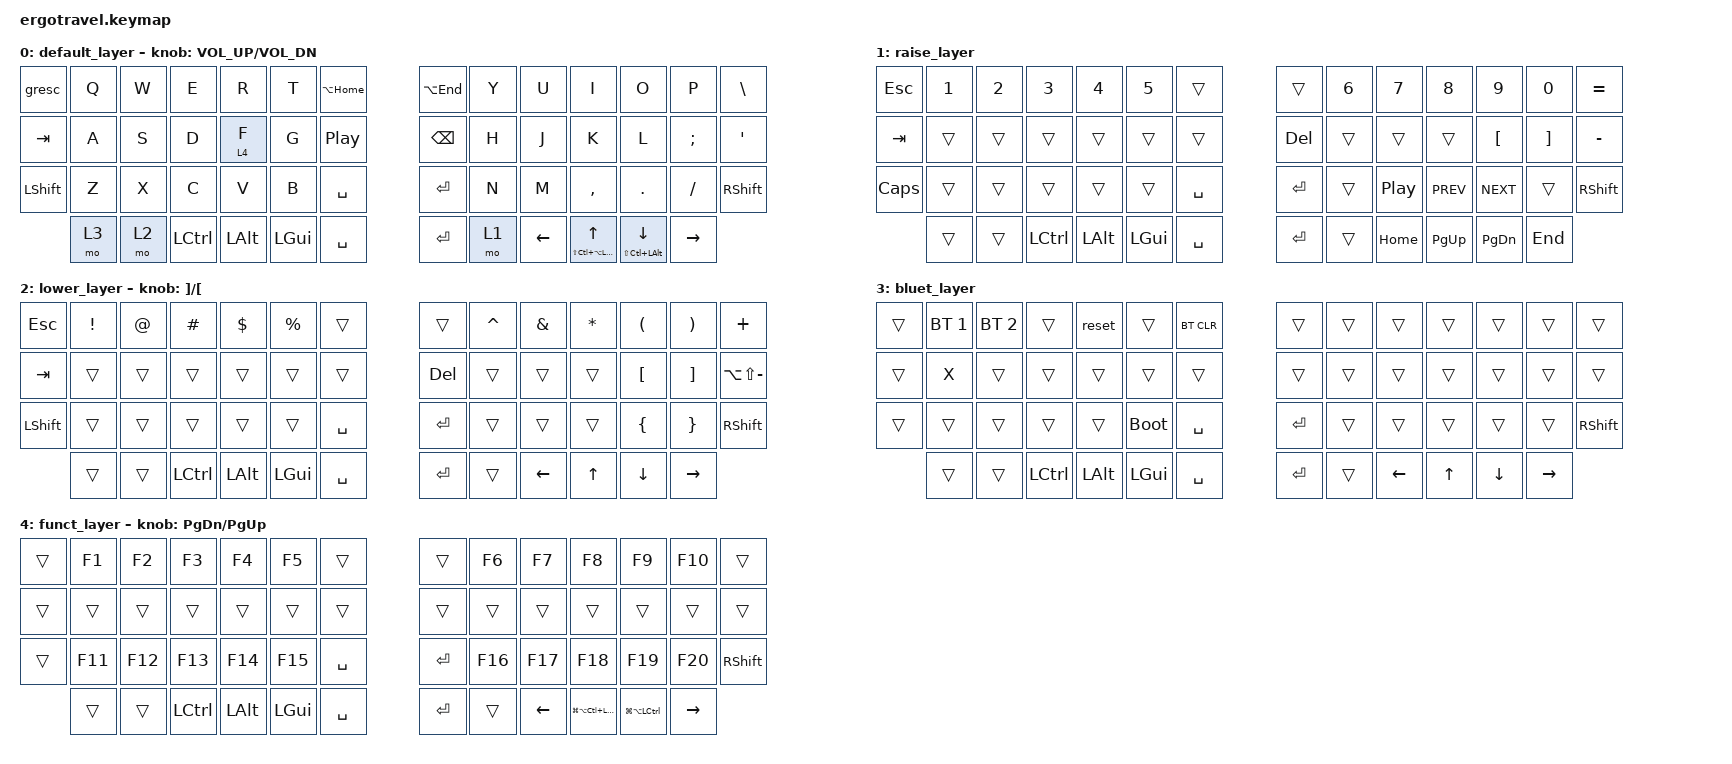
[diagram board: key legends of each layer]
/*
 * Copyright (c) 2020 The ZMK Contributors
 *
 * SPDX-License-Identifier: MIT
 */

#include <behaviors.dtsi>
#include <dt-bindings/zmk/keys.h>
#include <dt-bindings/zmk/bt.h>
#include <dt-bindings/zmk/ext_power.h>


#define DEFAULT 0
#define RAISE 1
#define LOWER 2
#define BLUET 3
#define FUNCT 4

#define HYPER LS(LC(LA(LGUI)))
#define MEH LS(LC(LALT))

&lt {
    tapping_term_ms = <300>;
};

&mt {
    tapping_term_ms = <300>;
};

/ {
	keymap {
		compatible = "zmk,keymap";

		default_layer {
    bindings = <
&gresc        &kp Q    &kp W    &kp E    &kp R   &kp T     &kp LA(HOME)         &kp LA(END) &kp Y   &kp U     &kp I     &kp O   &kp P    &kp BSLH
&kp TAB        &kp A    &kp S    &kp D    &lt 4 F   &kp G     &kp C_PP         &kp BSPC  &kp H   &kp J     &kp K     &kp L   &kp SEMI &kp SQT
&kp LSHFT      &kp Z    &kp X    &kp C    &kp V   &kp B     &kp SPACE         &kp RET   &kp N   &kp M     &kp COMMA &kp DOT &kp FSLH &kp RSHFT
&mo 3          &mo 2    &kp LCTL &kp LALT &kp LGUI &kp SPACE                  &kp RET   &mo 1   &kp LEFT  &mt HYPER UP   &mt MEH DOWN &kp RIGHT
>;

sensor-bindings = <&inc_dec_kp C_VOL_UP C_VOL_DN>;
		};

    raise_layer {
    bindings = <
&kp ESC        &kp N1   &kp N2   &kp N3   &kp N4  &kp N5    &trans       &trans   &kp N6  &kp N7    &kp N8     &kp N9  &kp N0  &kp EQUAL
&kp TAB        &trans   &trans   &trans   &trans  &trans    &trans      &kp DEL  &trans  &trans    &trans     &kp LBKT   &kp RBKT  &kp MINUS
&kp CAPS      &trans   &trans   &trans   &trans  &trans    &kp SPACE         &kp RET   &trans  &kp C_PP  &kp C_PREV &kp C_NEXT  &trans  &kp RSHFT
&trans         &trans   &kp LCTL &kp LALT &kp LGUI &kp SPACE                  &kp RET   &trans  &kp HOME  &kp PG_UP  &kp PG_DN &kp END
>;
    		};

    lower_layer {
    bindings = <
&kp ESC        &kp EXCL &kp AT   &kp HASH &kp DLLR &kp PRCNT &trans        &trans   &kp CARET &kp AMPS  &kp STAR &kp LPAR &kp RPAR &kp PLUS
&kp TAB        &trans   &trans   &trans   &trans  &trans    &trans         &kp DEL  &trans  &trans    &trans    &kp LBKT   &kp RBKT  &kp LA(LS(MINUS))
&kp LSHFT      &trans   &trans   &trans   &trans  &trans    &kp SPACE         &kp RET   &trans  &trans    &trans    &kp LBRC   &kp RBRC  &kp RSHFT
&trans         &trans   &kp LCTL &kp LALT &kp LGUI &kp SPACE                  &kp RET   &trans  &kp LEFT  &kp UP    &kp DOWN &kp RIGHT
>;
sensor-bindings = <&inc_dec_kp RBKT LBKT>;
        };

    bluet_layer {
    bindings = <
&trans  &bt BT_SEL 1   &bt BT_SEL 2   &trans   &reset  &trans &bt BT_CLR       &trans  &trans &trans &trans &trans &trans &trans
&trans     &kp X   &trans   &trans   &trans  &trans    &trans           &trans  &trans  &trans    &trans    &trans   &trans  &trans
&trans     &trans   &trans   &trans   &trans  &bootloader    &kp SPACE         &kp RET   &trans  &trans    &trans    &trans   &trans  &kp RSHFT
&trans     &trans   &kp LCTL &kp LALT &kp LGUI &kp SPACE                  &kp RET   &trans  &kp LEFT  &kp UP    &kp DOWN &kp RIGHT
>;
        };

    funct_layer {
    bindings = <
&trans    &kp F1   &kp F2   &kp F3   &kp F4   &kp F5    &trans        &trans  &kp F6   &kp F7   &kp F8   &kp F9   &kp F10 &trans
&trans     &trans   &trans   &trans   &trans  &trans    &trans           &trans  &trans  &trans    &trans    &trans   &trans  &trans
&trans     &kp F11   &kp F12   &kp F13   &kp F14   &kp F15    &kp SPACE         &kp RET   &kp F16   &kp F17   &kp F18   &kp F19   &kp F20  &kp RSHFT
&trans     &trans   &kp LCTL &kp LALT &kp LGUI &kp SPACE                  &kp RET   &trans  &kp LEFT  &kp LG(LA(LC(LSHFT))) &kp LG(LA(LCTL)) &kp RIGHT
>;

sensor-bindings = <&inc_dec_kp PG_DN PG_UP>;
        };

	};
};
